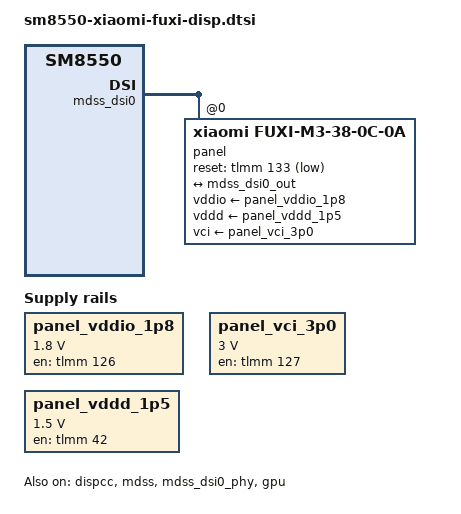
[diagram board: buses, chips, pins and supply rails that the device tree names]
// SPDX-License-Identifier: BSD-3-Clause
/*
 * Xiaomi 13 (fuxi)：原生显示驱动变体。在 sm8550-xiaomi-fuxi-min.dts 的基础上，把 simpledrm +
 * MDSS 占位换成真正的 MSM 显示通路（dispcc + MDSS/DPU + DSI0 + 7nm DSI PHY + 面板驱动
 * panel-xiaomi-fuxi）。面板参数取自厂商 DTB qcom,mdss_dsi_m3_38_0c_0a_dsc_cmd（见
 * work/device-info/panel-m3-38-0c-0a.dtsi）。
 *
 * 构建：FUXI_DTB=sm8550-xiaomi-fuxi-disp scripts/fuxi-build-abl.sh <名字>
 */


/ {
	/* 面板三路电源都是 GPIO 控制的负载开关（厂商 display_panel_vddio/vci/vddd），开机时已打开 */
	panel_vddio_1p8: regulator-panel-vddio {
		compatible = "regulator-fixed";
		regulator-name = "panel_vddio_1p8";
		regulator-min-microvolt = <1800000>;
		regulator-max-microvolt = <1800000>;
		gpio = <&tlmm 126 GPIO_ACTIVE_HIGH>;
		enable-active-high;
		regulator-boot-on;
	};

	panel_vci_3p0: regulator-panel-vci {
		compatible = "regulator-fixed";
		regulator-name = "panel_vci_3p0";
		regulator-min-microvolt = <3000000>;
		regulator-max-microvolt = <3000000>;
		gpio = <&tlmm 127 GPIO_ACTIVE_HIGH>;
		enable-active-high;
		regulator-boot-on;
	};

	panel_vddd_1p5: regulator-panel-vddd {
		compatible = "regulator-fixed";
		regulator-name = "panel_vddd_1p5";
		regulator-min-microvolt = <1500000>;
		regulator-max-microvolt = <1500000>;
		gpio = <&tlmm 42 GPIO_ACTIVE_HIGH>;
		enable-active-high;
		regulator-boot-on;
	};
};

&dispcc {
	status = "okay";
};

/*
 * 原生显示变体只让 MSM DPU/DSI 作为 DRM 输出。保留启动 framebuffer 的保留内存与
 * fuxi 早期 console，但不注册第二张 simpledrm 卡，避免桌面选中旧 bootloader 输出。
 */
&framebuffer0 {
	status = "disabled";
};

/* -min 里为了当 sync_state 占位删掉了 iommus；真驱动要用 SMMU */
&mdss {
	iommus = <&apps_smmu 0x1c00 0x2>;
	status = "okay";
};

&mdss_dsi0 {
	vdda-supply = <&vreg_l3e_1p2>;
	status = "okay";

	panel@0 {
		compatible = "xiaomi,fuxi-m3-38-0c-0a";
		reg = <0>;

		pinctrl-0 = <&sde_dsi_active>, <&sde_te>;
		pinctrl-1 = <&sde_dsi_suspend>, <&sde_te>;
		pinctrl-names = "default", "sleep";

		reset-gpios = <&tlmm 133 GPIO_ACTIVE_LOW>;

		vddio-supply = <&panel_vddio_1p8>;
		vddd-supply = <&panel_vddd_1p5>;
		vci-supply = <&panel_vci_3p0>;

		port {
			panel0_in: endpoint {
				remote-endpoint = <&mdss_dsi0_out>;
			};
		};
	};
};

&mdss_dsi0_out {
	remote-endpoint = <&panel0_in>;
	data-lanes = <0 1 2 3>;
};

&mdss_dsi0_phy {
	vdds-supply = <&vreg_l1e_0p88>;
	status = "okay";
};

&tlmm {
	sde_dsi_active: sde-dsi-active-state {
		pins = "gpio133";
		function = "gpio";
		drive-strength = <8>;
		bias-disable;
	};

	sde_dsi_suspend: sde-dsi-suspend-state {
		pins = "gpio133";
		function = "gpio";
		drive-strength = <2>;
		bias-pull-down;
	};

	/* 厂商 sde_te_active：GPIO86 mdp_vsync */
	sde_te: sde-te-state {
		pins = "gpio86";
		function = "mdp_vsync";
		drive-strength = <2>;
		bias-pull-down;
	};
};

/*
 * GPU：Adreno 740。a740_sqe.fw、gmu_gen70200.bin 放 /lib/firmware/qcom/；签名的 zap shader 取自 Android
 * /vendor/firmware（a740_zap.mdt + .bNN），放 /lib/firmware/qcom/sm8550/xiaomi/fuxi/。
 * 固件在第一次打开 GPU 时才加载（那时根文件系统已挂好）。
 */
&gpu {
	status = "okay";
};

&gpu_zap_shader {
	firmware-name = "qcom/sm8550/xiaomi/fuxi/a740_zap.mdt";
};
